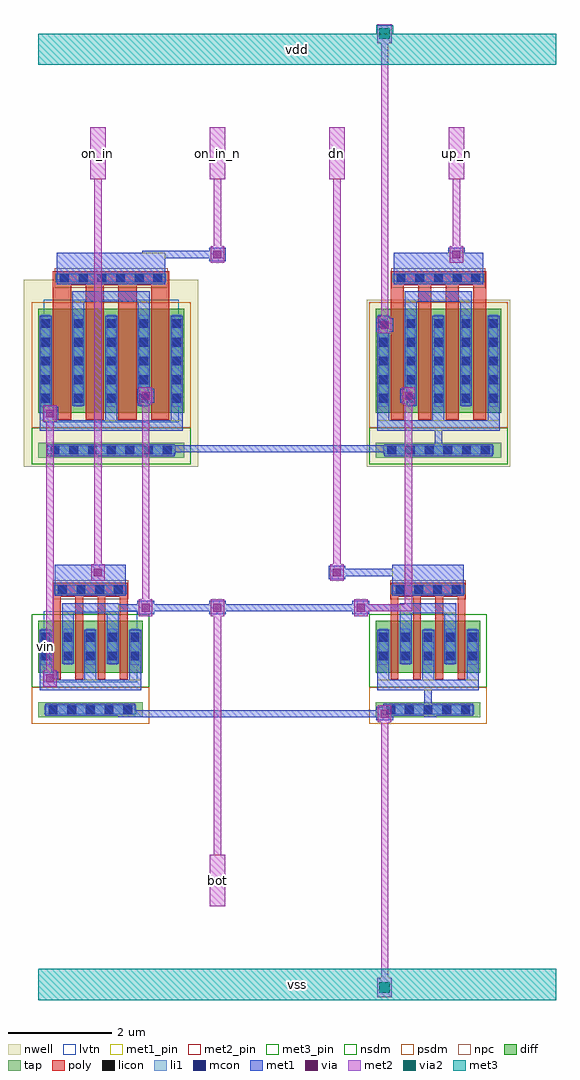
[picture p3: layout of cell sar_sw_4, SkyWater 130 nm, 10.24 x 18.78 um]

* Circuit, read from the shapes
.subckt sar_sw_4 bot dn on_in on_in_n up_n vdd vin vss
XM1 bot on_in vin vss sky130_fd_pr__nfet_01v8_lvt w=1 l=0.15 m=4
XM2 bot dn vss vss sky130_fd_pr__nfet_01v8 w=1 l=0.15 m=4
XM3 bot on_in_n vin vdd sky130_fd_pr__pfet_01v8_lvt w=2 l=0.35 m=4
XM4 bot up_n vdd vdd sky130_fd_pr__pfet_01v8 w=2 l=0.25 m=4
.ends

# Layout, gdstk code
import gdstk
lib = gdstk.Library(unit=1e-6, precision=1e-09)
def R(c, l, rs):  # rectangles x0, y0, x1, y1
    for r in rs: c.add(gdstk.rectangle(r[:2], r[2:], *l))
def A(c, l, x, y, w, h, nx, ny, dx, dy):  # array of equal rectangles
    R(c, l, [(x+i*dx, y+j*dy, x+i*dx+w, y+j*dy+h) for i in range(nx) for j in range(ny)])
nwell = (64, 20)
diff = (65, 20)
tap = (65, 44)
poly = (66, 20)
licon = (66, 44)
li1 = (67, 20)
mcon = (67, 44)
met1_pin = (68, 16)
met1 = (68, 20)
via = (68, 44)
met2_pin = (69, 16)
met2 = (69, 20)
via2 = (69, 44)
met3_pin = (70, 16)
met3 = (70, 20)
nsdm = (93, 44)
psdm = (94, 20)
npc = (95, 20)
lvtn = (125, 44)

pin_met3_w9p97u_l0p6u = lib.new_cell('pin_met3_w9p97u_l0p6u')
R(pin_met3_w9p97u_l0p6u, met3_pin, [(0,0,9.97,0.6)])
R(pin_met3_w9p97u_l0p6u, met3, [(0,0,9.97,0.6)])
pin_met3_w9p97u_l0p6u.add(gdstk.Label('P', (4.985,0.3), layer=70, texttype=16))

pin_met2_w0p3u_l1u = lib.new_cell('pin_met2_w0p3u_l1u')
R(pin_met2_w0p3u_l1u, met2_pin, [(0,0,0.3,1)])
R(pin_met2_w0p3u_l1u, met2, [(0,0,0.3,1)])
pin_met2_w0p3u_l1u.add(gdstk.Label('P', (0.15,0.5), layer=69, texttype=16))

pfet_01v8_w2u_l0p25u_nf1 = lib.new_cell('pfet_01v8_w2u_l0p25u_nf1_m4')
R(pfet_01v8_w2u_l0p25u_nf1, nwell, [(-0.18,-1.04,2.59,2.18)])
R(pfet_01v8_w2u_l0p25u_nf1, diff, [(0,0,2.41,2)])
R(pfet_01v8_w2u_l0p25u_nf1, tap, [(0,-0.86,2.41,-0.57)])
A(pfet_01v8_w2u_l0p25u_nf1, poly, 0.285, -0.13, 0.25, 2.59, 4, 1, 0.53, 0)
R(pfet_01v8_w2u_l0p25u_nf1, poly, [(0.285,2.46,2.125,2.73)])
A(pfet_01v8_w2u_l0p25u_nf1, licon, 0.22, -0.8, 0.17, 0.17, 6, 1, 0.36, 0)
A(pfet_01v8_w2u_l0p25u_nf1, licon, 0.06, 0.195, 0.17, 0.17, 5, 5, 0.53, 0.36)
A(pfet_01v8_w2u_l0p25u_nf1, licon, 0.4, 2.51, 0.17, 0.17, 5, 1, 0.36, 0)
A(pfet_01v8_w2u_l0p25u_nf1, li1, 0.06, 0.115, 0.17, 1.77, 5, 1, 0.53, 0)
R(pfet_01v8_w2u_l0p25u_nf1, li1, [(0.14,-0.8,2.27,-0.63), (0.32,2.51,2.09,2.68)])
A(pfet_01v8_w2u_l0p25u_nf1, mcon, 0.22, -0.8, 0.17, 0.17, 6, 1, 0.36, 0)
A(pfet_01v8_w2u_l0p25u_nf1, mcon, 0.06, 0.195, 0.17, 0.17, 5, 5, 0.53, 0.36)
A(pfet_01v8_w2u_l0p25u_nf1, mcon, 0.4, 2.51, 0.17, 0.17, 5, 1, 0.36, 0)
R(pfet_01v8_w2u_l0p25u_nf1, met1_pin, [(0.16,-0.83,2.25,-0.6), (0.03,-0.34,2.38,-0.14), (0.56,2.14,1.85,2.34), (0.34,2.48,2.07,3.08)])
A(pfet_01v8_w2u_l0p25u_nf1, met1, 0.03, -0.34, 0.23, 2.205, 3, 1, 1.06, 0)
R(pfet_01v8_w2u_l0p25u_nf1, met1, [(0.16,-0.83,2.25,-0.6), (0.03,-0.34,2.38,-0.14), (0.56,0.135,0.79,2.34), (1.62,0.135,1.85,2.34), (0.56,2.14,1.85,2.34), (0.34,2.48,2.07,3.08)])
R(pfet_01v8_w2u_l0p25u_nf1, nsdm, [(-0.125,-0.985,2.535,-0.285)])
R(pfet_01v8_w2u_l0p25u_nf1, psdm, [(-0.125,-0.285,2.535,2.125)])
R(pfet_01v8_w2u_l0p25u_nf1, npc, [(0.3,2.41,2.11,2.78)])
pfet_01v8_w2u_l0p25u_nf1.add(gdstk.Label('B', (1.205,-0.715), layer=68, texttype=16))
pfet_01v8_w2u_l0p25u_nf1.add(gdstk.Label('G', (1.205,2.78), layer=68, texttype=16))
pfet_01v8_w2u_l0p25u_nf1.add(gdstk.Label('D', (1.205,2.24), layer=68, texttype=16))
pfet_01v8_w2u_l0p25u_nf1.add(gdstk.Label('S', (1.205,-0.24), layer=68, texttype=16))

pfet_01v8_lvt_w2u_l0p35u = lib.new_cell('pfet_01v8_lvt_w2u_l0p35u_nf1_m4')
R(pfet_01v8_lvt_w2u_l0p35u, nwell, [(-0.275,-1.04,3.085,2.56), (-0.18,-1.04,2.99,2.18)])
R(pfet_01v8_lvt_w2u_l0p35u, diff, [(0,0,2.81,2)])
R(pfet_01v8_lvt_w2u_l0p35u, tap, [(0,-0.86,2.81,-0.57)])
A(pfet_01v8_lvt_w2u_l0p35u, poly, 0.285, -0.13, 0.35, 2.59, 4, 1, 0.63, 0)
R(pfet_01v8_lvt_w2u_l0p35u, poly, [(0.285,2.46,2.525,2.73)])
A(pfet_01v8_lvt_w2u_l0p35u, licon, 0.24, -0.8, 0.17, 0.17, 7, 1, 0.36, 0)
A(pfet_01v8_lvt_w2u_l0p35u, licon, 0.06, 0.195, 0.17, 0.17, 5, 5, 0.63, 0.36)
A(pfet_01v8_lvt_w2u_l0p35u, licon, 0.42, 2.51, 0.17, 0.17, 6, 1, 0.36, 0)
A(pfet_01v8_lvt_w2u_l0p35u, li1, 0.06, 0.115, 0.17, 1.77, 5, 1, 0.63, 0)
R(pfet_01v8_lvt_w2u_l0p35u, li1, [(0.16,-0.8,2.65,-0.63), (0.34,2.51,2.47,2.68)])
A(pfet_01v8_lvt_w2u_l0p35u, mcon, 0.24, -0.8, 0.17, 0.17, 7, 1, 0.36, 0)
A(pfet_01v8_lvt_w2u_l0p35u, mcon, 0.06, 0.195, 0.17, 0.17, 5, 5, 0.63, 0.36)
A(pfet_01v8_lvt_w2u_l0p35u, mcon, 0.42, 2.51, 0.17, 0.17, 6, 1, 0.36, 0)
R(pfet_01v8_lvt_w2u_l0p35u, met1_pin, [(0.18,-0.83,2.63,-0.6), (0.03,-0.34,2.78,-0.14), (0.66,2.14,2.15,2.34), (0.36,2.48,2.45,3.08)])
A(pfet_01v8_lvt_w2u_l0p35u, met1, 0.03, -0.34, 0.23, 2.205, 3, 1, 1.26, 0)
R(pfet_01v8_lvt_w2u_l0p35u, met1, [(0.18,-0.83,2.63,-0.6), (0.03,-0.34,2.78,-0.14), (0.66,0.135,0.89,2.34), (1.92,0.135,2.15,2.34), (0.66,2.14,2.15,2.34), (0.36,2.48,2.45,3.08)])
R(pfet_01v8_lvt_w2u_l0p35u, nsdm, [(-0.125,-0.985,2.935,-0.285)])
R(pfet_01v8_lvt_w2u_l0p35u, psdm, [(-0.125,-0.285,2.935,2.125)])
R(pfet_01v8_lvt_w2u_l0p35u, npc, [(0.32,2.41,2.49,2.78)])
R(pfet_01v8_lvt_w2u_l0p35u, lvtn, [(0.105,-0.18,2.705,2.18)])
pfet_01v8_lvt_w2u_l0p35u.add(gdstk.Label('B', (1.405,-0.715), layer=68, texttype=16))
pfet_01v8_lvt_w2u_l0p35u.add(gdstk.Label('G', (1.405,2.78), layer=68, texttype=16))
pfet_01v8_lvt_w2u_l0p35u.add(gdstk.Label('D', (1.405,2.24), layer=68, texttype=16))
pfet_01v8_lvt_w2u_l0p35u.add(gdstk.Label('S', (1.405,-0.24), layer=68, texttype=16))

nfet_01v8_w1u_l0p15u_nf1 = lib.new_cell('nfet_01v8_w1u_l0p15u_nf1_m4')
R(nfet_01v8_w1u_l0p15u_nf1, diff, [(0,0,2.01,1)])
R(nfet_01v8_w1u_l0p15u_nf1, tap, [(0,-0.86,2.01,-0.57)])
A(nfet_01v8_w1u_l0p15u_nf1, poly, 0.285, -0.13, 0.15, 1.59, 4, 1, 0.43, 0)
R(nfet_01v8_w1u_l0p15u_nf1, poly, [(0.285,1.46,1.725,1.73)])
A(nfet_01v8_w1u_l0p15u_nf1, licon, 0.2, -0.8, 0.17, 0.17, 5, 1, 0.36, 0)
A(nfet_01v8_w1u_l0p15u_nf1, licon, 0.06, 0.235, 0.17, 0.17, 5, 2, 0.43, 0.36)
A(nfet_01v8_w1u_l0p15u_nf1, licon, 0.38, 1.51, 0.17, 0.17, 4, 1, 0.36, 0)
A(nfet_01v8_w1u_l0p15u_nf1, li1, 0.06, 0.155, 0.17, 0.69, 5, 1, 0.43, 0)
R(nfet_01v8_w1u_l0p15u_nf1, li1, [(0.12,-0.8,1.89,-0.63), (0.3,1.51,1.71,1.68)])
A(nfet_01v8_w1u_l0p15u_nf1, mcon, 0.2, -0.8, 0.17, 0.17, 5, 1, 0.36, 0)
A(nfet_01v8_w1u_l0p15u_nf1, mcon, 0.06, 0.235, 0.17, 0.17, 5, 2, 0.43, 0.36)
A(nfet_01v8_w1u_l0p15u_nf1, mcon, 0.38, 1.51, 0.17, 0.17, 4, 1, 0.36, 0)
R(nfet_01v8_w1u_l0p15u_nf1, met1_pin, [(0.14,-0.83,1.87,-0.6), (0.03,-0.34,1.98,-0.14), (0.46,1.14,1.55,1.34), (0.32,1.48,1.69,2.08)])
A(nfet_01v8_w1u_l0p15u_nf1, met1, 0.03, -0.34, 0.23, 1.165, 3, 1, 0.86, 0)
R(nfet_01v8_w1u_l0p15u_nf1, met1, [(0.14,-0.83,1.87,-0.6), (0.03,-0.34,1.98,-0.14), (0.46,0.175,0.69,1.34), (1.32,0.175,1.55,1.34), (0.46,1.14,1.55,1.34), (0.32,1.48,1.69,2.08)])
R(nfet_01v8_w1u_l0p15u_nf1, nsdm, [(-0.125,-0.285,2.135,1.125)])
R(nfet_01v8_w1u_l0p15u_nf1, psdm, [(-0.125,-0.985,2.135,-0.285)])
R(nfet_01v8_w1u_l0p15u_nf1, npc, [(0.28,1.41,1.73,1.78)])
nfet_01v8_w1u_l0p15u_nf1.add(gdstk.Label('B', (1.005,-0.715), layer=68, texttype=16))
nfet_01v8_w1u_l0p15u_nf1.add(gdstk.Label('G', (1.005,1.78), layer=68, texttype=16))
nfet_01v8_w1u_l0p15u_nf1.add(gdstk.Label('D', (1.005,1.24), layer=68, texttype=16))
nfet_01v8_w1u_l0p15u_nf1.add(gdstk.Label('S', (1.005,-0.24), layer=68, texttype=16))

nfet_01v8_lvt_w1u_l0p15u = lib.new_cell('nfet_01v8_lvt_w1u_l0p15u_nf1_m4')
R(nfet_01v8_lvt_w1u_l0p15u, diff, [(0,0,2.01,1)])
R(nfet_01v8_lvt_w1u_l0p15u, tap, [(0,-0.86,2.01,-0.57)])
A(nfet_01v8_lvt_w1u_l0p15u, poly, 0.285, -0.13, 0.15, 1.59, 4, 1, 0.43, 0)
R(nfet_01v8_lvt_w1u_l0p15u, poly, [(0.285,1.46,1.725,1.73)])
A(nfet_01v8_lvt_w1u_l0p15u, licon, 0.2, -0.8, 0.17, 0.17, 5, 1, 0.36, 0)
A(nfet_01v8_lvt_w1u_l0p15u, licon, 0.06, 0.235, 0.17, 0.17, 5, 2, 0.43, 0.36)
A(nfet_01v8_lvt_w1u_l0p15u, licon, 0.38, 1.51, 0.17, 0.17, 4, 1, 0.36, 0)
A(nfet_01v8_lvt_w1u_l0p15u, li1, 0.06, 0.155, 0.17, 0.69, 5, 1, 0.43, 0)
R(nfet_01v8_lvt_w1u_l0p15u, li1, [(0.12,-0.8,1.89,-0.63), (0.3,1.51,1.71,1.68)])
A(nfet_01v8_lvt_w1u_l0p15u, mcon, 0.2, -0.8, 0.17, 0.17, 5, 1, 0.36, 0)
A(nfet_01v8_lvt_w1u_l0p15u, mcon, 0.06, 0.235, 0.17, 0.17, 5, 2, 0.43, 0.36)
A(nfet_01v8_lvt_w1u_l0p15u, mcon, 0.38, 1.51, 0.17, 0.17, 4, 1, 0.36, 0)
R(nfet_01v8_lvt_w1u_l0p15u, met1_pin, [(0.14,-0.83,1.87,-0.6), (0.03,-0.34,1.98,-0.14), (0.46,1.14,1.55,1.34), (0.32,1.48,1.69,2.08)])
A(nfet_01v8_lvt_w1u_l0p15u, met1, 0.03, -0.34, 0.23, 1.165, 3, 1, 0.86, 0)
R(nfet_01v8_lvt_w1u_l0p15u, met1, [(0.14,-0.83,1.87,-0.6), (0.03,-0.34,1.98,-0.14), (0.46,0.175,0.69,1.34), (1.32,0.175,1.55,1.34), (0.46,1.14,1.55,1.34), (0.32,1.48,1.69,2.08)])
R(nfet_01v8_lvt_w1u_l0p15u, nsdm, [(-0.125,-0.285,2.135,1.125)])
R(nfet_01v8_lvt_w1u_l0p15u, psdm, [(-0.125,-0.985,2.135,-0.285)])
R(nfet_01v8_lvt_w1u_l0p15u, npc, [(0.28,1.41,1.73,1.78)])
R(nfet_01v8_lvt_w1u_l0p15u, lvtn, [(0.105,-0.18,1.905,1.18)])
nfet_01v8_lvt_w1u_l0p15u.add(gdstk.Label('B', (1.005,-0.715), layer=68, texttype=16))
nfet_01v8_lvt_w1u_l0p15u.add(gdstk.Label('G', (1.005,1.78), layer=68, texttype=16))
nfet_01v8_lvt_w1u_l0p15u.add(gdstk.Label('D', (1.005,1.24), layer=68, texttype=16))
nfet_01v8_lvt_w1u_l0p15u.add(gdstk.Label('S', (1.005,-0.24), layer=68, texttype=16))

sar_sw_4 = lib.new_cell('sar_sw_4')
R(sar_sw_4, met1, [(6.51,2.08,6.83,2.34), (1.54,2.14,6.74,2.28), (7.435,2.14,7.66,2.28), (7.435,2.14,7.575,2.83), (0.07,2.76,0.39,3.02), (1.91,4.12,2.23,4.38), (3.29,4.12,3.61,4.38), (6.05,4.12,6.37,4.38), (1.08,4.18,3.52,4.32), (3.38,4.18,6.28,4.32), (6.14,4.18,7.2,4.32), (0.99,4.8,1.31,5.06), (5.59,4.8,5.91,5.06), (5.68,4.86,7.2,5), (2.46,7.24,6.74,7.38), (7.52,7.24,7.775,7.38), (7.635,7.24,7.775,7.83), (0.07,7.86,0.39,8.12), (1.91,8.2,2.23,8.46), (6.97,8.2,7.29,8.46), (6.51,9.56,6.83,9.82), (3.29,10.92,3.61,11.18), (7.89,10.92,8.21,11.18), (2,10.98,3.52,11.12)])
R(sar_sw_4, via, [(6.595,2.135,6.745,2.285), (0.155,2.815,0.305,2.965), (1.995,4.175,2.145,4.325), (3.375,4.175,3.525,4.325), (6.135,4.175,6.285,4.325), (1.075,4.855,1.225,5.005), (5.675,4.855,5.825,5.005), (0.155,7.915,0.305,8.065), (1.995,8.255,2.145,8.405), (7.055,8.255,7.205,8.405), (6.595,9.615,6.745,9.765), (3.375,10.975,3.525,11.125), (7.975,10.975,8.125,11.125)])
R(sar_sw_4, met2, [(6.53,-3.245,6.81,-2.875), (6.6,-3.13,6.74,2.28), (3.38,-0.58,3.52,4.32), (6.54,2.05,6.8,2.37), (0.1,2.73,0.36,3.05), (0.16,2.82,0.3,8.06), (1.94,4.09,2.2,4.41), (3.32,4.09,3.58,4.41), (6.08,4.09,6.34,4.41), (2,4.18,2.14,8.4), (6.14,4.18,6.74,4.32), (6.6,4.18,7.2,4.32), (7.06,4.18,7.2,8.4), (1.02,4.77,1.28,5.09), (5.62,4.77,5.88,5.09), (1.08,4.86,1.22,12.65), (5.68,4.86,5.82,12.65), (0.1,7.83,0.36,8.15), (1.94,8.17,2.2,8.49), (7,8.17,7.26,8.49), (6.54,9.53,6.8,9.85), (6.6,9.62,6.74,15.37), (3.32,10.89,3.58,11.21), (7.92,10.89,8.18,11.21), (3.38,10.98,3.52,12.65), (7.98,10.98,8.12,12.65), (6.53,15.115,6.81,15.485)])
R(sar_sw_4, via2, [(6.57,-3.16,6.77,-2.96), (6.57,15.2,6.77,15.4)])
R(sar_sw_4, met3, [(6.505,-3.225,6.835,-2.895), (6.505,15.135,6.835,15.465)])
sar_sw_4.add(gdstk.Reference(pin_met3_w9p97u_l0p6u, (0,-3.3)))
sar_sw_4.add(gdstk.Reference(pin_met3_w9p97u_l0p6u, (0,14.7)))
sar_sw_4.add(gdstk.Reference(pin_met2_w0p3u_l1u, (5.6,12.5)))
sar_sw_4.add(gdstk.Reference(pin_met2_w0p3u_l1u, (3.3,12.5)))
sar_sw_4.add(gdstk.Reference(pin_met2_w0p3u_l1u, (7.9,12.5)))
sar_sw_4.add(gdstk.Reference(pin_met2_w0p3u_l1u, (1,12.5)))
sar_sw_4.add(gdstk.Reference(pfet_01v8_w2u_l0p25u_nf1, (6.5,8)))
sar_sw_4.add(gdstk.Reference(pin_met2_w0p3u_l1u, (3.3,-1.5)))
sar_sw_4.add(gdstk.Reference(pfet_01v8_lvt_w2u_l0p35u, (0,8)))
sar_sw_4.add(gdstk.Reference(nfet_01v8_w1u_l0p15u_nf1, (6.5,3)))
sar_sw_4.add(gdstk.Reference(nfet_01v8_lvt_w1u_l0p15u, (0,3)))
sar_sw_4.add(gdstk.Label('vin', (0.145,3.5), layer=67, texttype=16))
sar_sw_4.add(gdstk.Label('vss', (4.985,-3), layer=70, texttype=16))
sar_sw_4.add(gdstk.Label('vdd', (4.985,15), layer=70, texttype=16))
sar_sw_4.add(gdstk.Label('up_n', (8.05,13), layer=69, texttype=16))
sar_sw_4.add(gdstk.Label('on_in_n', (3.45,13), layer=69, texttype=16))
sar_sw_4.add(gdstk.Label('on_in', (1.15,13), layer=69, texttype=16))
sar_sw_4.add(gdstk.Label('dn', (5.75,13), layer=69, texttype=16))
sar_sw_4.add(gdstk.Label('bot', (3.45,-1), layer=69, texttype=16))

lib.write_gds('sar_sw_4.gds')
